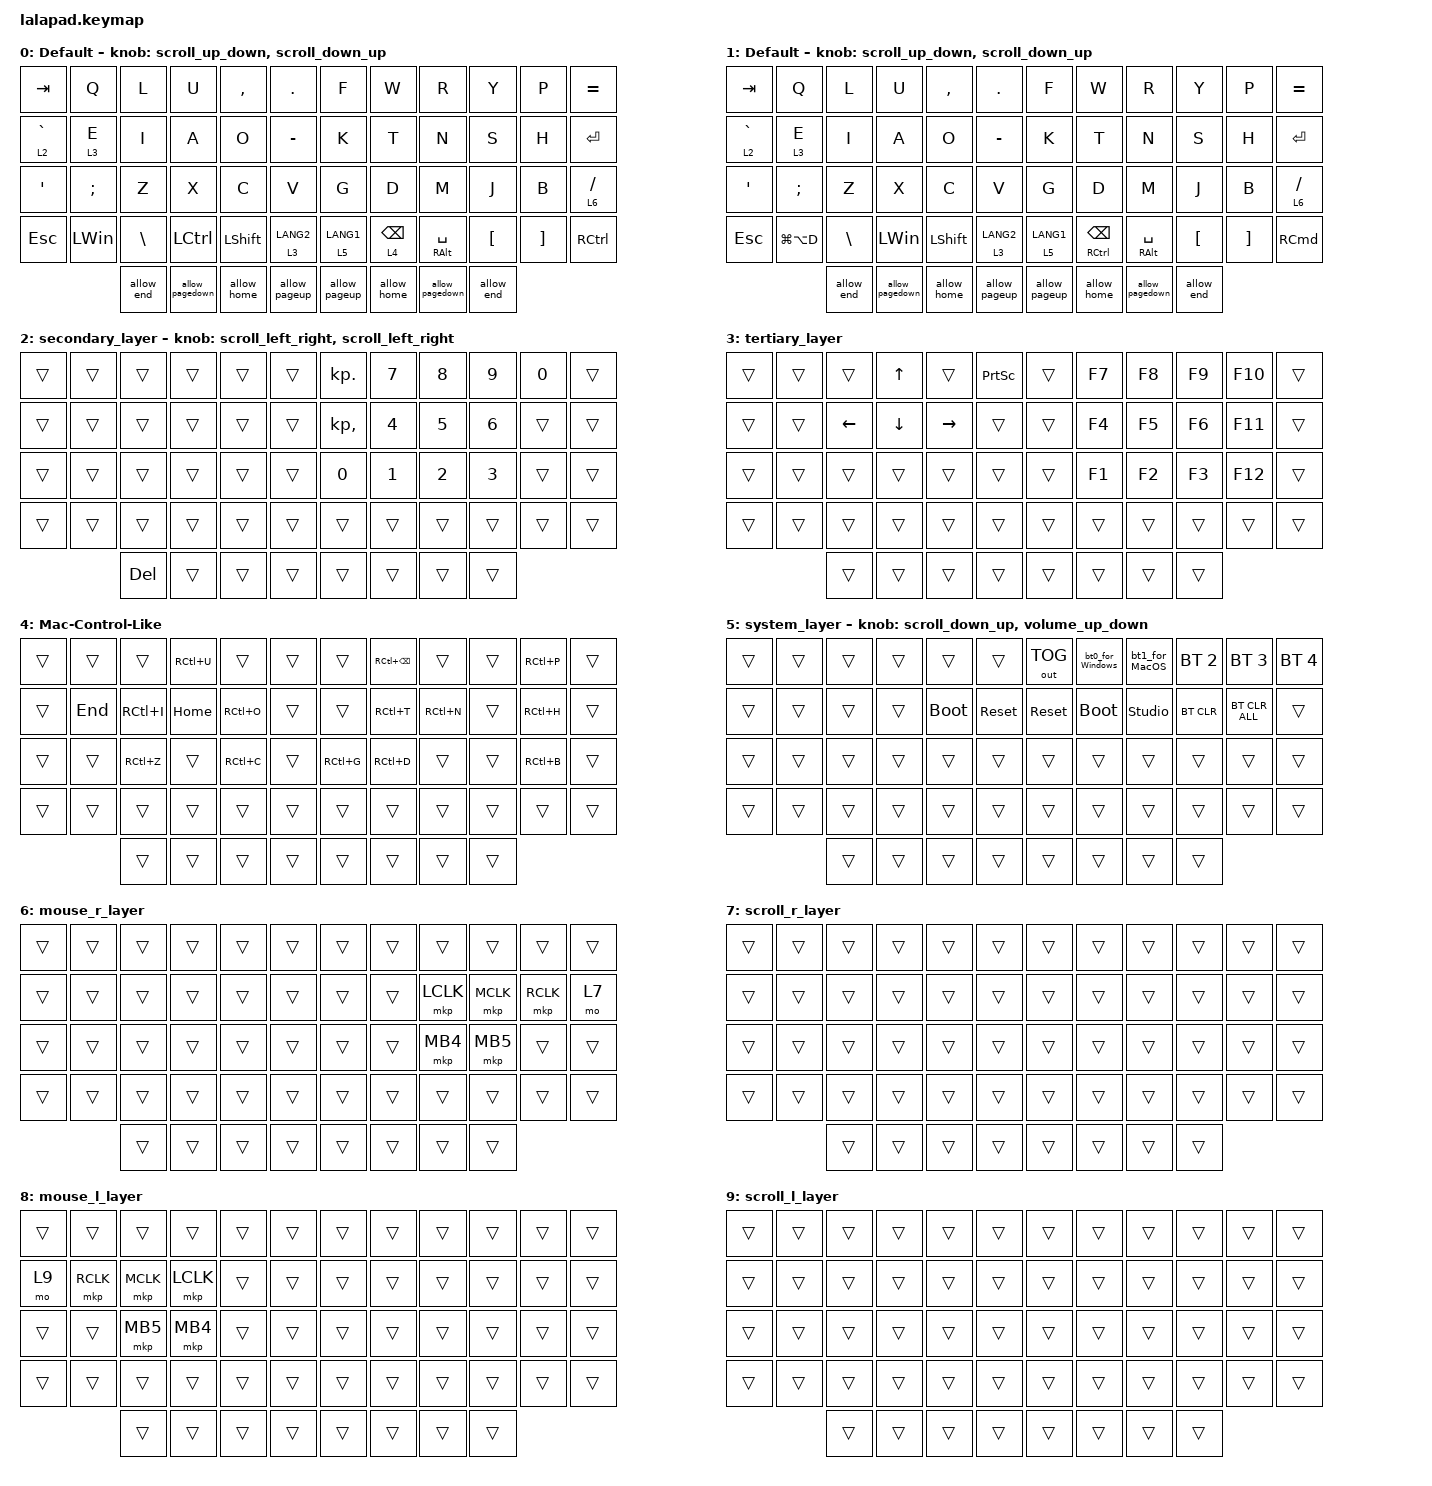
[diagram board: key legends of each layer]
#include <input/processors.dtsi>
#include <behaviors.dtsi>
#include <dt-bindings/zmk/bt.h>
#include <dt-bindings/zmk/keys.h>
#include <dt-bindings/zmk/outputs.h>
#include <dt-bindings/zmk/pointing.h>

#define DEFAULT_LAYER   0
#define SECONDARY_LAYER 1
#define TERTIARY_LAYER  2
#define SYSTEM_LAYER    3
#define MOUSE_R_LAYER   4
#define SCROLL_R_LAYER  5
#define MOUSE_L_LAYER   6
#define SCROLL_L_LAYER  7

// Mouse Scroll Value

#define ZMK_POINTING_DEFAULT_SCRL_VAL 100

// cirque trackpad input&layer control

&glidepoint_listener_R {
    input-processors =
        <&zip_xy_transform (INPUT_TRANSFORM_XY_SWAP | INPUT_TRANSFORM_X_INVERT | INPUT_TRANSFORM_Y_INVERT)>,
        <&zip_xy_scaler 3 2>,
        <&zip_temp_layer MOUSE_R_LAYER 500>;

    //lowspeedmode {
    //    layers = <SECONDARY_LAYER>;
    //    input-processors =
    //        <&zip_xy_transform (INPUT_TRANSFORM_XY_SWAP | INPUT_TRANSFORM_X_INVERT | INPUT_TRANSFORM_Y_INVERT)>,
    //        <&zip_xy_scaler 3 5>,
    //        <&zip_temp_layer MOUSE_R_LAYER 500>;
    //};

    scroller {
        layers = <SCROLL_R_LAYER>;
        input-processors =
            <&zip_xy_to_scroll_mapper>,
            <&zip_scroll_transform (INPUT_TRANSFORM_XY_SWAP | INPUT_TRANSFORM_Y_INVERT)>,
            <&zip_scroll_scaler 1 8>;
    };
};

&glidepoint_listener_L {
    input-processors =
        <&zip_xy_transform (INPUT_TRANSFORM_XY_SWAP | INPUT_TRANSFORM_X_INVERT | INPUT_TRANSFORM_Y_INVERT)>,
        <&zip_xy_scaler 3 2>,
        <&zip_temp_layer MOUSE_L_LAYER 500>;

    lowspeedmode {
        layers = <SECONDARY_LAYER>;
        input-processors =
            <&zip_xy_transform (INPUT_TRANSFORM_XY_SWAP | INPUT_TRANSFORM_X_INVERT | INPUT_TRANSFORM_Y_INVERT)>,
            <&zip_xy_scaler 3 4>,
            <&zip_temp_layer MOUSE_L_LAYER 500>;
    };

    scroller {
        layers = <SCROLL_L_LAYER>;
        input-processors =
            <&zip_xy_to_scroll_mapper>,
            <&zip_scroll_transform (INPUT_TRANSFORM_XY_SWAP | INPUT_TRANSFORM_Y_INVERT)>,
            <&zip_scroll_scaler 1 6>;
    };
};

&lt { quick-tap-ms = <200>; };

&mt { quick-tap-ms = <200>; };

/ {
    behaviors {
        // Encoder to Mouse Scroll

        scroll_up_down: sensor_scroll_up_down {
            compatible = "zmk,behavior-sensor-rotate";
            #sensor-binding-cells = <0>;
            bindings = <&msc SCRL_UP>, <&msc SCRL_DOWN>;

            tap-ms = <20>;
            label = "SCROLL_UP_DOWN";
        };

        scroll_down_up: sensor_scroll_down_up {
            compatible = "zmk,behavior-sensor-rotate";
            #sensor-binding-cells = <0>;
            bindings = <&msc SCRL_DOWN>, <&msc SCRL_UP>;

            tap-ms = <20>;
            label = "SCROLL_DOWN_UP";
        };

        scroll_left_right: sensor_scroll_left_right {
            compatible = "zmk,behavior-sensor-rotate";
            #sensor-binding-cells = <0>;
            bindings = <&msc SCRL_LEFT>, <&msc SCRL_RIGHT>;

            tap-ms = <20>;
            label = "SCROLL_LEFT_RIGHT";
        };

        scroll_right_left: sensor_scroll_right_left {
            compatible = "zmk,behavior-sensor-rotate";
            #sensor-binding-cells = <0>;
            bindings = <&msc SCRL_RIGHT>, <&msc SCRL_LEFT>;

            tap-ms = <20>;
            label = "SCROLL_RIGHT_LEFT";
        };

        volume_up_down: sensor_volume_up_down {
            compatible = "zmk,behavior-sensor-rotate";
            #sensor-binding-cells = <0>;
            bindings = <&kp C_VOLUME_UP>, <&kp C_VOLUME_DOWN>;

            tap-ms = <20>;
            label = "VOLUME_UP_DOWN";
        };

        dot_comma: dot_comma {
            compatible = "zmk,behavior-mod-morph";
            #binding-cells = <0>;
            bindings = <&kp KP_DOT>, <&kp COMMA>;

            mods = <(MOD_LSFT|MOD_RSFT)>;
            label = "DOT_COMMA";
        };

        pls_minus: pls_minus {
            compatible = "zmk,behavior-mod-morph";
            #binding-cells = <0>;
            bindings = <&kp PLUS>, <&kp MINUS>;

            mods = <(MOD_LSFT|MOD_RSFT)>;
            label = "PLS_MINUS";
        };

        allow_pageup: allow_pageup {
            compatible = "zmk,behavior-mod-morph";
            #binding-cells = <0>;
            bindings = <&kp UP>, <&kp PAGE_UP>;

            mods = <(MOD_LCTL|MOD_RCTL)>;
            label = "ALLOW_PAGEUP";
        };

        allow_pagedown: allow_pagedown {
            compatible = "zmk,behavior-mod-morph";
            #binding-cells = <0>;
            bindings = <&kp DOWN>, <&kp PAGE_DOWN>;

            mods = <(MOD_LCTL|MOD_RCTL)>;
            label = "ALLOW_PAGEDOWN";
        };

        allow_home: allow_home {
            compatible = "zmk,behavior-mod-morph";
            #binding-cells = <0>;
            bindings = <&kp LEFT>, <&kp HOME>;

            mods = <(MOD_LCTL|MOD_RCTL)>;
            label = "ALLOW_HOME";
        };

        allow_end: allow_end {
            compatible = "zmk,behavior-mod-morph";
            #binding-cells = <0>;
            bindings = <&kp RIGHT>, <&kp END>;

            mods = <(MOD_LCTL|MOD_RCTL)>;
            label = "ALLOW_END";
        };

        mt2: mod_tap2 {
            compatible = "zmk,behavior-hold-tap";
            #binding-cells = <2>;
            flavor = "tap-preferred";
            tapping-term-ms = <200>;
            quick-tap-ms = <200>;
            require-prior-idle-ms = <125>;
            bindings = <&kp>, <&kp>;
        };

        tog_on: tog_on {
            compatible = "zmk,behavior-toggle-layer";
            label = "Toggle Layer On";
            #binding-cells = <1>;
        };

        tog_off: tog_off {
            compatible = "zmk,behavior-toggle-layer";
            label = "Toggle Layer Off";
            #binding-cells = <1>;
            toggle-mode = "off";
        };

        mt_tp: mt_tp {
            compatible = "zmk,behavior-hold-tap";
            #binding-cells = <2>;
            flavor = "tap-preferred";
            tapping-term-ms = <200>;
            quick-tap-ms = <200>;
            require-prior-idle-ms = <125>;
            bindings = <&kp>, <&kp>;

            label = "MT_TP";
        };

        lt_hp: lt_hp {
            compatible = "zmk,behavior-hold-tap";
            label = "LT_HP";
            bindings = <&mo>, <&kp>;

            #binding-cells = <2>;
            tapping-term-ms = <200>;
            quick-tap-ms = <200>;
        };
    };

    macros {
        bt0_for_Windows: bt0_for_Windows {
            compatible = "zmk,behavior-macro";
            #binding-cells = <0>;
            bindings =
                <&tog_on 0 &tog_off 1>,
                <&macro_wait_time 200>,
                <&bt BT_SEL 0>,
                <&macro_wait_time 500>;

            label = "BT0_FOR_WINDOWS";
        };

        bt1_for_MacOS: bt1_for_MacOS {
            compatible = "zmk,behavior-macro";
            #binding-cells = <0>;
            bindings =
                <&tog_on 1 &tog_off 0>,
                <&macro_wait_time 200>,
                <&bt BT_SEL 1>,
                <&macro_wait_time 500>;

            label = "BT1_FOR_MACOS";
        };
    };

    keymap {
        compatible = "zmk,keymap";

        DEFAULT_LAYER {
            display-name = "Default";
            sensor-bindings = <&scroll_up_down>, <&scroll_down_up>;

            bindings = <
&kp TAB         &kp Q          &kp L          &kp U            &kp COMMA    &kp PERIOD     &kp F          &kp W               &kp R                &kp Y             &kp P              &kp EQUAL
&lt_hp 2 GRAVE  &lt 3 E        &kp I          &kp A            &kp O        &kp MINUS      &kp K          &kp T               &kp N                &kp S             &kp H              &kp ENTER
&kp SQT         &kp SEMICOLON  &kp Z          &kp X            &kp C        &kp V          &kp G          &kp D               &kp M                &kp J             &kp B              &lt 6 SLASH
&kp ESCAPE      &kp LEFT_WIN   &kp BACKSLASH  &kp LCTRL        &kp LSHIFT   &lt 3 LANG2    &lt 5 LANG1    &lt_hp 4 BACKSPACE  &mt RIGHT_ALT SPACE  &kp LEFT_BRACKET  &kp RIGHT_BRACKET  &kp RCTRL
                               &allow_end     &allow_pagedown  &allow_home  &allow_pageup  &allow_pageup  &allow_home         &allow_pagedown      &allow_end
            >;
        };

        Default-for-MacOS {
            display-name = "Default";
            bindings = <
&kp TAB         &kp Q          &kp L          &kp U            &kp COMMA       &kp PERIOD     &kp F          &kp W                        &kp R                &kp Y             &kp P              &kp EQUAL
&lt_hp 2 GRAVE  &lt 3 E        &kp I          &kp A            &kp O           &kp MINUS      &kp K          &kp T                        &kp N                &kp S             &kp H              &kp ENTER
&kp SQT         &kp SEMICOLON  &kp Z          &kp X            &kp C           &kp V          &kp G          &kp D                        &kp M                &kp J             &kp B              &lt 6 SLASH
&kp ESCAPE      &kp LG(LA(D))  &kp BACKSLASH  &kp LEFT_WIN     &kp LEFT_SHIFT  &lt 3 LANG2    &lt 5 LANG1    &mt RIGHT_CONTROL BACKSPACE  &mt RIGHT_ALT SPACE  &kp LEFT_BRACKET  &kp RIGHT_BRACKET  &kp RIGHT_COMMAND
                               &allow_end     &allow_pagedown  &allow_home     &allow_pageup  &allow_pageup  &allow_home                  &allow_pagedown      &allow_end
            >;

            sensor-bindings = <&scroll_up_down>, <&scroll_down_up>;
        };

        Number-keys {
            display-name = "secondary_layer";
            sensor-bindings = <&scroll_left_right>, <&scroll_left_right>;

            bindings = <
&trans  &trans  &trans      &trans  &trans  &trans  &kp KP_DOT    &kp NUMBER_7  &kp N8        &kp NUMBER_9  &kp NUMBER_0  &trans
&trans  &trans  &trans      &trans  &trans  &trans  &kp KP_COMMA  &kp NUMBER_4  &kp N5        &kp NUMBER_6  &trans        &trans
&trans  &trans  &trans      &trans  &trans  &trans  &kp N0        &kp NUMBER_1  &kp NUMBER_2  &kp NUMBER_3  &trans        &trans
&trans  &trans  &trans      &trans  &trans  &trans  &trans        &trans        &trans        &trans        &trans        &trans
                &kp DELETE  &trans  &trans  &trans  &trans        &trans        &trans        &trans
            >;
        };

        Function-keys {
            display-name = "tertiary_layer";
            bindings = <
&trans  &trans  &trans          &kp UP_ARROW    &trans     &kp PRINTSCREEN  &trans  &kp F7  &kp F8  &kp F9  &kp F10  &trans
&trans  &trans  &kp LEFT_ARROW  &kp DOWN_ARROW  &kp RIGHT  &trans           &trans  &kp F4  &kp F5  &kp F6  &kp F11  &trans
&trans  &trans  &trans          &trans          &trans     &trans           &trans  &kp F1  &kp F2  &kp F3  &kp F12  &trans
&trans  &trans  &trans          &trans          &trans     &trans           &trans  &trans  &trans  &trans  &trans   &trans
                &trans          &trans          &trans     &trans           &trans  &trans  &trans  &trans
            >;
        };

        Mac-Control-Like {
            bindings = <
&trans  &trans   &trans     &kp RC(U)  &trans     &trans  &trans     &kp RC(BACKSPACE)  &trans     &trans  &kp RC(P)  &trans
&trans  &kp END  &kp RC(I)  &kp HOME   &kp RC(O)  &trans  &trans     &kp RC(T)          &kp RC(N)  &trans  &kp RC(H)  &trans
&trans  &trans   &kp RC(Z)  &trans     &kp RC(C)  &trans  &kp RC(G)  &kp RC(D)          &trans     &trans  &kp RC(B)  &trans
&trans  &trans   &trans     &trans     &trans     &trans  &trans     &trans             &trans     &trans  &trans     &trans
                 &trans     &trans     &trans     &trans  &trans     &trans             &trans     &trans
            >;
        };

        SYSTEM_LAYER {
            display-name = "system_layer";
            sensor-bindings = <&scroll_down_up>, <&volume_up_down>;

            bindings = <
&trans  &trans  &trans  &trans  &trans       &trans      &out OUT_TOG  &bt0_for_Windows  &bt1_for_MacOS  &bt BT_SEL 2  &bt BT_SEL 3    &bt BT_SEL 4
&trans  &trans  &trans  &trans  &bootloader  &sys_reset  &sys_reset    &bootloader       &studio_unlock  &bt BT_CLR    &bt BT_CLR_ALL  &trans
&trans  &trans  &trans  &trans  &trans       &trans      &trans        &trans            &trans          &trans        &trans          &trans
&trans  &trans  &trans  &trans  &trans       &trans      &trans        &trans            &trans          &trans        &trans          &trans
                &trans  &trans  &trans       &trans      &trans        &trans            &trans          &trans
            >;
        };

        MOUSE_R_LAYER {
            display-name = "mouse_r_layer";
            bindings = <
&trans  &trans  &trans  &trans  &trans  &trans  &trans  &trans  &trans     &trans     &trans     &trans
&trans  &trans  &trans  &trans  &trans  &trans  &trans  &trans  &mkp LCLK  &mkp MCLK  &mkp RCLK  &mo 7
&trans  &trans  &trans  &trans  &trans  &trans  &trans  &trans  &mkp MB4   &mkp MB5   &trans     &trans
&trans  &trans  &trans  &trans  &trans  &trans  &trans  &trans  &trans     &trans     &trans     &trans
                &trans  &trans  &trans  &trans  &trans  &trans  &trans     &trans
            >;
        };

        SCROLL_R_LAYER {
            display-name = "scroll_r_layer";
            bindings = <
&trans  &trans  &trans  &trans  &trans  &trans  &trans  &trans  &trans  &trans  &trans  &trans
&trans  &trans  &trans  &trans  &trans  &trans  &trans  &trans  &trans  &trans  &trans  &trans
&trans  &trans  &trans  &trans  &trans  &trans  &trans  &trans  &trans  &trans  &trans  &trans
&trans  &trans  &trans  &trans  &trans  &trans  &trans  &trans  &trans  &trans  &trans  &trans
                &trans  &trans  &trans  &trans  &trans  &trans  &trans  &trans
            >;
        };

        MOUSE_L_LAYER {
            display-name = "mouse_l_layer";
            bindings = <
&trans  &trans     &trans     &trans     &trans  &trans  &trans  &trans  &trans  &trans  &trans  &trans
&mo 9   &mkp RCLK  &mkp MCLK  &mkp LCLK  &trans  &trans  &trans  &trans  &trans  &trans  &trans  &trans
&trans  &trans     &mkp MB5   &mkp MB4   &trans  &trans  &trans  &trans  &trans  &trans  &trans  &trans
&trans  &trans     &trans     &trans     &trans  &trans  &trans  &trans  &trans  &trans  &trans  &trans
                   &trans     &trans     &trans  &trans  &trans  &trans  &trans  &trans
            >;
        };

        SCROLL_L_LAYER {
            display-name = "scroll_l_layer";
            bindings = <
&trans  &trans  &trans  &trans  &trans  &trans  &trans  &trans  &trans  &trans  &trans  &trans
&trans  &trans  &trans  &trans  &trans  &trans  &trans  &trans  &trans  &trans  &trans  &trans
&trans  &trans  &trans  &trans  &trans  &trans  &trans  &trans  &trans  &trans  &trans  &trans
&trans  &trans  &trans  &trans  &trans  &trans  &trans  &trans  &trans  &trans  &trans  &trans
                &trans  &trans  &trans  &trans  &trans  &trans  &trans  &trans
            >;
        };
    };
};
